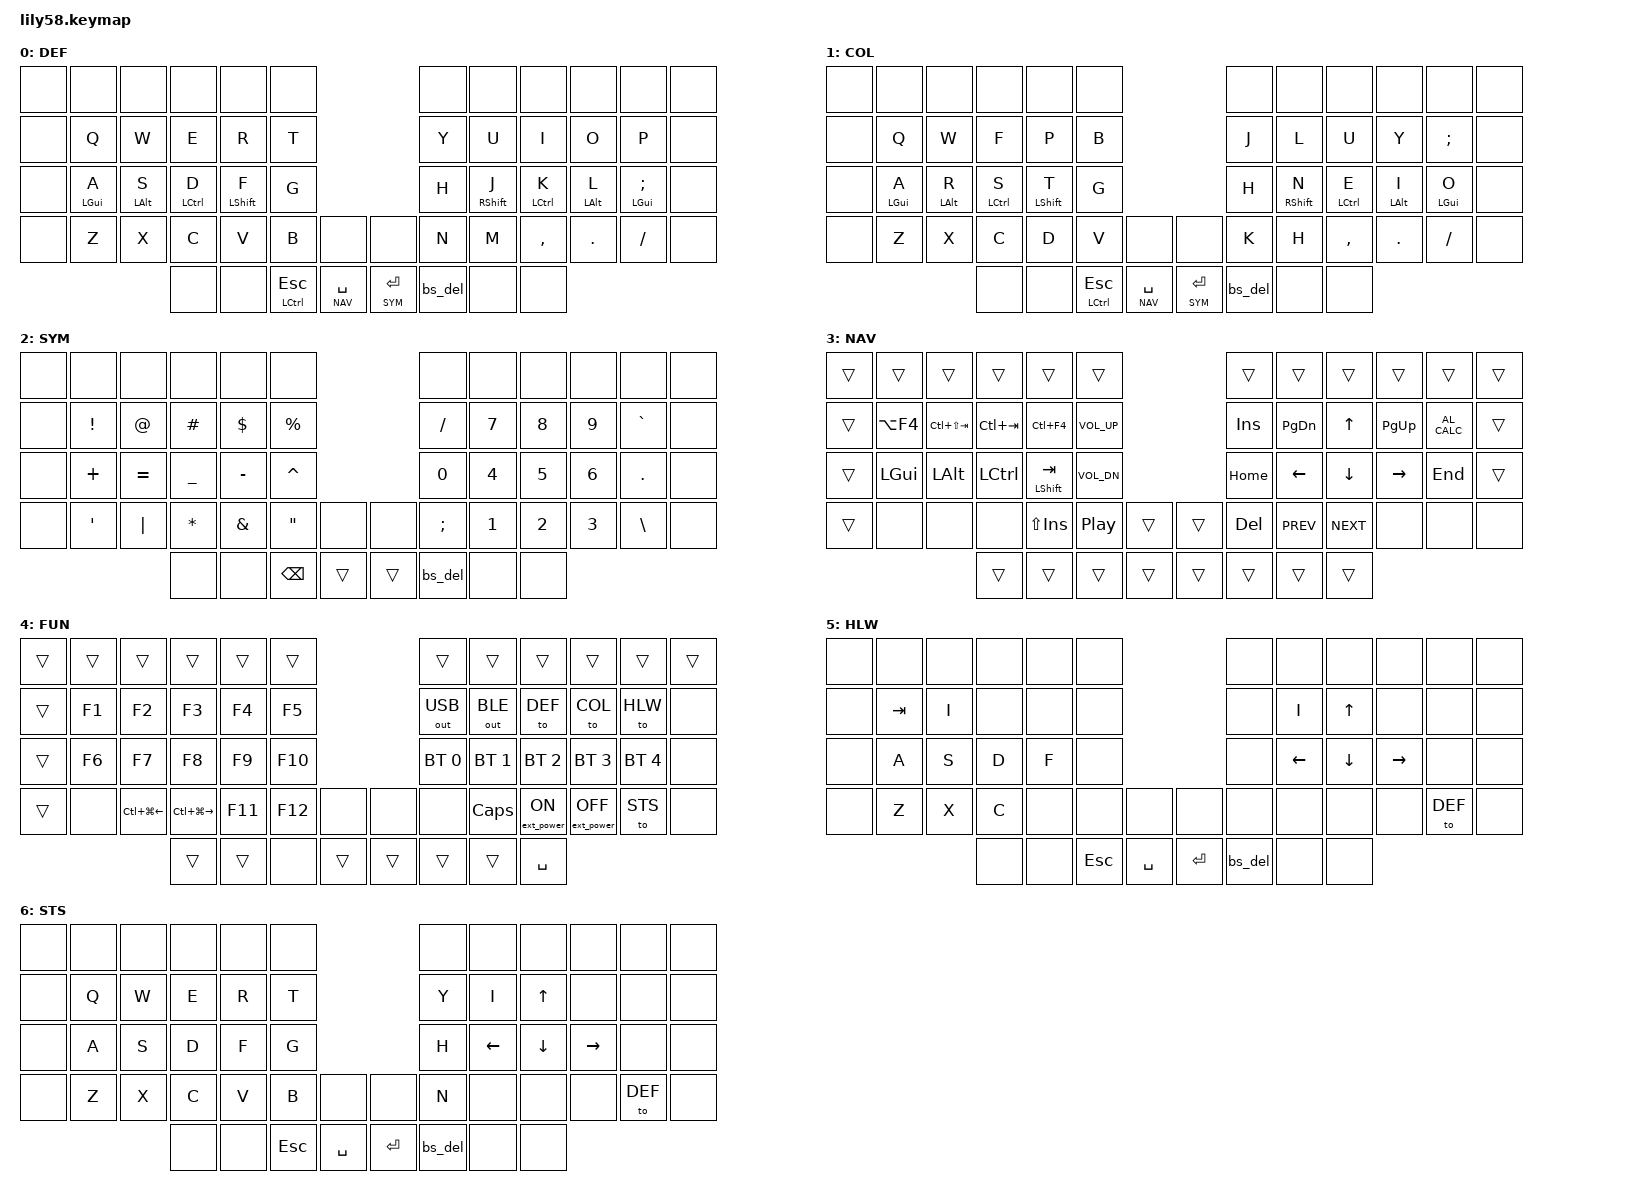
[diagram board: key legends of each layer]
/*
 * Copyright (c) 2020 The ZMK Contributors
 *
 * SPDX-License-Identifier: MIT
 */

 /* 
 Much of the below mapping was taken from work done by urob,
 caksoylar and other brilliant people from the ZMK community.
 urob's zmk repository: https://github.com/urob/zmk-config
 caksoylar's zmk repository (stock branch):https://github.com/caksoylar/zmk-config/tree/stock/
 
 
 
 */

#include <behaviors.dtsi>
#include <dt-bindings/zmk/keys.h>
#include <dt-bindings/zmk/bt.h>
#include <dt-bindings/zmk/ext_power.h>
//#include <behaviours/mouse_keys.dtsi>

#include "../zmk-helpers-main/helper.h"
#include "map58to34keys.h"
// Key defines for HRM behaviours
#define KEYS_L LT0 LT1 LT2 LT3 LT4 LM0 LM1 LM2 LM3 LM4 LB0 LB1 LB2 LB3 LB4  // left-hand keys
#define KEYS_R RT0 RT1 RT2 RT3 RT4 RM0 RM1 RM2 RM3 RM4 RB0 RB1 RB2 RB3 RB4  // right-hand keys
#define THUMBS LH1 LH0 RH0 RH1                                              // thumb keys

// Layer defines
#define DEF 0
#define COL 1
#define SYM 2       // Commonly used symbols, such as theta, omega, beta, alpha, etc
#define NAV 3       // arrow keys, PGUP/PGDN, back, forward, window swappers, 
#define FUN 4       
#define HLW 5       // Hollow Knight Keybinds
#define STS 6       // For generic game keybinds
// #define SYS 5
// #define MOU 6

// Desktop window management and tab nav shortcuts
#define D_LT   LC(LG(LEFT))     // move desktop left
#define D_RT   LC(LG(RIGHT))    // move desktop right       
#define TAB_RT LC(TAB)          // tab switcher forward/right
#define TAB_LT LC(LS(TAB))      // tab switcher left/back
//Extra key binds
#define SWP_POS LB3
#define PWR_ON &ext_power EP_ON
#define PWR_OFF &ext_power EP_OFF

// Custom includes

#include "combos.dtsi"
#include <dt-bindings/zmk/outputs.h>

//Global settings
#define QUICK_TAP_MS 175
// behaviour customizations

&mt {
    flavor = "hold-preferred";
    tapping-term-ms = <200>;
};

&lt {
    flavor = "balanced";
    tapping-term-ms = <200>;
};

&caps_word {
    continue-list = <UNDERSCORE MINUS BSPC DEL N1 N2 N3 N4 N5 N6 N7 N8 N9 N0>;
};

// Home row mods macros
    // left hand hrms
ZMK_BEHAVIOR(hml, hold_tap,
    flavor = "balanced";
    tapping-term-ms = <280>;
    quick-tap-ms = <125>;
    require-prior-idle-ms = <150>;
    bindings = <&kp>, <&kp>;
    hold-trigger-key-positions = <KEYS_R THUMBS>;
    hold-trigger-on-release;
    )

ZMK_BEHAVIOR(hmr, hold_tap,
    flavor = "balanced";
    tapping-term-ms = <280>;
    quick-tap-ms = <125>;
    require-prior-idle-ms = <150>;
    bindings = <&kp>, <&kp>;
    hold-trigger-key-positions = <KEYS_L THUMBS>;
    hold-trigger-on-release;
    )


/ {
    cond_layers {
        compatible = "zmk,conditional-layers";
        // Define FUN layer as tri-state
        func_tristate {
            if-layers = <NAV SYM>;
            then-layer = <FUN>;
        };
    };

    behaviors {
        // // Swapper function (may require zmk PR#1366)
        // swapper: swapper {
        //     compatible = "zmk,behaviour-tri-state";
        //     #binding-cells = <0>;
        //     bindings = <&kt LALT>, <&kp TAB>, <&kt LALT>;
        //     ignored-key-positions = <SWP_POS>; 
        // };
    // tap: backspace | lshft + tap: delete | rshft + tap: shift-delete
        bs_del: backspace_delete {
            compatible = "zmk,behavior-mod-morph";
            #binding-cells = <0>;
            bindings = <&kp BSPC>, <&kp DEL>;
            mods = <(MOD_LSFT|MOD_RSFT)>;
            keep-mods = <MOD_RSFT>;
        };


    };
    keymap {
        compatible = "zmk,keymap";

        default_layer {
            display-name = "DEF";
// ------------------------------------------------------------------------------------------------------------
// |  ESC  |  1  |  2  |  3   |  4   |  5   |                   |  6   |  7    |  8    |  9   |   0   |   `   |
// |  TAB  |  Q  |  W  |  E   |  R   |  T   |                   |  Y   |  U    |  I    |  O   |   P   |   -   |
// |  CTRL |  A  |  S  |  D   |  F   |  G   |                   |  H   |  J    |  K    |  L   |   ;   |   '   |
// | SHIFT |  Z  |  X  |  C   |  V   |  B   |   "["  |  |  "]"  |  N   |  M    |  ,    |  .   |   /   | SHIFT |
//                     | ALT  | GUI  | LOWER|  SPACE |  | ENTER | RAISE| BSPC  | GUI   |
            bindings = <
&none       &none       &none       &none           &none           &none                                       &none           &none           &none       &none           &none           &none
&none       &kp Q       &kp W       &kp E           &kp R           &kp T                                       &kp Y           &kp U           &kp I       &kp O           &kp P           &none
&none       &hml LGUI A &hml LALT S &hml LCTRL D    &hml LSHFT F    &kp G                                       &kp H       &hmr RSHFT J    &hmr LCTRL K    &hmr LALT L &hmr LGUI SEMI  &none
&none       &kp Z       &kp X       &kp C           &kp V           &kp B           &none           &none       &kp N           &kp M           &kp COMMA   &kp DOT         &kp FSLH        &none
                                    &none           &none           &mt LCTRL ESC   &lt NAV SPACE   &lt SYM RET &bs_del         &none           &none
            >;
        };

        cole_layer {
            display-name = "COL";
			bindings = <
&none       &none       &none       &none       	&none       	&none                                       &none       &none       &none       &none       &none           &none
&none       &kp Q       &kp W       &kp F		&kp P       	&kp B                                       &kp J       &kp L       &kp U        &kp Y       &kp SEMI        &none
&none       &hml LGUI A &hml LALT R &hml LCTRL S    	&hml LSHFT T	&kp G                                       &kp H       &hmr RSHFT N    &hmr LCTRL E    &hmr LALT I &hmr LGUI O &none
&none       &kp Z       &kp X       &kp C       	&kp D       	&kp V           &none           &none       &kp K       &kp H       &kp COMMA   &kp DOT     &kp FSLH        &none
                                    &none       	&none       	&mt LCTRL ESC   &lt NAV SPC     &lt SYM RET &bs_del     &none       &none
			>;
        };

        symbol_layer {
            display-name = "SYM";
	    
// ------------------------------------------------------------------------------------------------------------
// |       |	 |     |      |      |      |      		|      |       |       |      |       |	      |
// |       |  F2 |  F3 |  F4  |  F5  |  %   |                   |  /   |   7   |   8   |  9   |   `   |       |
// |       |  +  |  =  |   _  |  -   |  ^   |                   |  0   |   4   |   5   |  6   |   .   |       |
// |       |  '  | "|" |   *  |  &   |  "   |        |  |       |  ;   |   1   |   2   |  3   |   \   |       |
//                     |      |      | BSPC |        |  |       | BSPC |       |       |
            bindings = <
&none       &none       &none       &none       &none       &none                                   &none       &none       &none       &none       &none           &none
&none       &kp EXCL    &kp AT      &kp HASH    &kp DLLR    &kp PRCNT                               &kp SLASH   &kp N7      &kp N8      &kp N9      &kp GRAVE	&none       
&none       &kp PLUS    &kp EQUAL   &kp UNDER   &kp MINUS   &kp CARET                               &kp N0      &kp N4      &kp N5      &kp N6      &kp DOT         &none
&none       &kp APOS    &kp PIPE     &kp STAR   &kp AMPS    &kp DQT	&none           &none       &kp SEMI    &kp N1      &kp N2      &kp N3      &kp BSLH	&none
                                    &none       &none       &kp BSPC    &trans          &trans      &bs_del    &none   &none                               
            >;
        };

        nav_layer {
            display-name = "NAV";
// ------------------------------------------------------------------------------------------------------------
// | BTCLR | BT1 | BT2 |  BT3 |  BT4 |  BT5 |                   |      |       |       |      |       |       |
// |  F1   |  F2 |  F3 |  F4  |  F5  |  F6  |                   |  F7  |  F8   |  F9   |  F10 |  F11  |  F12  |
// |   `   |  !  |  @  |  #   |  $   |  %   |                   |  ^   |  &    |  *    |  (   |   )   |   ~   |
// |       |     |     |      |      |      |        |  |       |      |  _    |  +    |  {   |   }   |  "|"  |
//                     |      |      |      |        |  |       |      |       |       |
            bindings = <
&trans      &trans      &trans      &trans          &trans          &trans                                  &trans      &trans       &trans       &trans        &trans          &trans
&trans      &kp LA(F4)  &kp TAB_LT  &kp TAB_RT      &kp LC(F4)      &kp C_VOL_UP                            &kp INS     &kp PG_DN    &kp UP       &kp PG_UP     &kp C_AL_CALC   &trans
&trans      &kp LGUI    &kp LALT    &kp LCTRL       &mt LSHFT TAB   &kp C_VOL_DN                            &kp HOME    &kp LEFT     &kp DOWN     &kp RIGHT     &kp END         &trans
&trans      &none       &none       &none           &kp LS(INS)     &kp C_PP        &trans      &trans      &kp DEL     &kp C_PREV   &kp C_NEXT   &none         &none           &none
                                    &trans          &trans          &trans          &trans      &trans      &trans      &trans      &trans
            >;
        };
        fun_layer {
            display-name = "FUN";
            bindings = <
&trans      &trans      &trans      &trans      &trans      &trans                              &trans          &trans          &trans              &trans              &trans          &trans
&trans      &kp F1      &kp F2      &kp F3      &kp F4      &kp F5                              &out OUT_USB    &out OUT_BLE    &to DEF             &to COL             &to HLW         &none
&trans      &kp F6      &kp F7      &kp F8      &kp F9      &kp F10                             &bt BT_SEL 0    &bt BT_SEL 1    &bt BT_SEL 2        &bt BT_SEL 3        &bt BT_SEL 4    &none
&trans      &none       &kp D_LT    &kp D_RT    &kp F11     &kp F12     &none       &none       &none           &kp CAPS        &ext_power EP_ON    &ext_power EP_OFF   &to STS           &none
                                    &trans      &trans      &none       &trans      &trans      &trans          &trans          &kp SPACE 
            >;

        };

        hollowknight_layer {
            display-name = "HLW";
            bindings = <
&none       &none       &none       &none           &none           &none                                       &none           &none           &none       &none           &none       &none
&none       &kp TAB     &kp I       &none           &none           &none                                       &none           &kp I           &kp UP      &none           &none       &none
&none       &kp A       &kp S       &kp D           &kp F           &none                                       &none           &kp LEFT        &kp DOWN    &kp RIGHT       &none       &none
&none       &kp Z       &kp X       &kp C           &none           &none           &none           &none       &none           &none           &none       &none           &to DEF     &none
                                    &none           &none           &kp ESC         &kp SPACE       &kp RET     &bs_del         &none           &none
            >;
        };

        spire_layer {
            display-name = "STS";
            bindings = <
&none       &none       &none       &none           &none           &none                                       &none           &none           &none       &none           &none           &none
&none       &kp Q       &kp W       &kp E           &kp R           &kp T                                       &kp Y           &kp I           &kp UP      &none           &none           &none
&none       &kp A       &kp S       &kp D           &kp F           &kp G                                       &kp H           &kp LEFT        &kp DOWN    &kp RIGHT       &none        &none
&none       &kp Z       &kp X       &kp C           &kp V           &kp B           &none           &none       &kp N           &none           &none       &none         &to DEF        &none
                                    &none           &none           &kp ESC         &kp SPACE       &kp RET     &bs_del         &none           &none
            >;
        };

//         sys_layer {ul
//             display-name = "SYS";
//             bindings = <
// &kp LA(F4)  &kp TAB_LT  &kp TAB_RT      &kp LC(F4)      &kp C_VOL_UP            &kp INS         &kp PG_DN    &kp UP       &kp PG_UP    &kp C_AL_CALC 
// &kp LCTRL   &kp LGUI    &kp LALT        &mt LSHFT TAB   &kp C_VOL_DN            &kp HOME        &kp LEFT     &kp DOWN     &kp RIGHT    &kp END       
// &none       &none       &none           &kp LS(INS)     &kp C_PP                &none           &kp DEL      &kp C_PREV   &kp C_NEXT   &none         
//                                         &none           &trans                  &trans          &kp SPACE 
//             >;

//         };
    };
};
